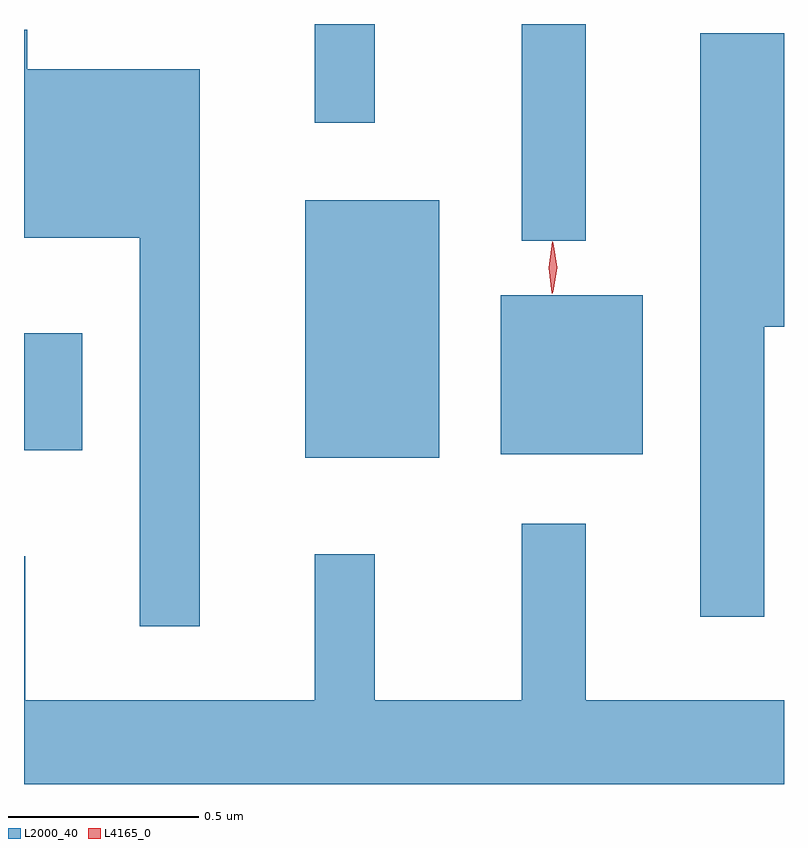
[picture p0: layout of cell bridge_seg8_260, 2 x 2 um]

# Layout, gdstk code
import gdstk
lib = gdstk.Library(unit=1e-6, precision=1e-09)
def R(c, l, rs):  # rectangles x0, y0, x1, y1
    for r in rs: c.add(gdstk.rectangle(r[:2], r[2:], *l))
def P(c, l, *ps):  # polygons
    for p in ps: c.add(gdstk.Polygon(p, *l))
L2000_40 = (2000, 40)
L4165_0 = (4165, 0)

bridge_seg8_260 = lib.new_cell('bridge_seg8_260')
R(bridge_seg8_260, L2000_40, [(1156.061,1832.881,1156.414,1833.559), (1156.576,1832.891,1156.949,1833.309), (1155.321,1832.901,1155.474,1833.209), (1156.631,1833.453,1156.799,1834.023), (1156.086,1833.763,1156.244,1834.023)])
P(bridge_seg8_260, L2000_40, [(1155.784,1833.904),(1155.329,1833.904),(1155.329,1834.008),(1155.321,1834.008),(1155.321,1833.461),(1155.626,1833.461),(1155.626,1832.438),(1155.784,1832.438)],
  [(1157.269,1833.226),(1157.321,1833.226),(1157.321,1833.999),(1157.101,1833.999),(1157.101,1832.463),(1157.269,1832.463)],
  [(1157.321,1832.244),(1156.799,1832.244),(1156.799,1832.708),(1156.631,1832.708),(1156.631,1832.244),(1156.244,1832.244),(1156.244,1832.628),(1156.086,1832.628),(1156.086,1832.244),(1155.324,1832.244),(1155.324,1832.623),(1155.321,1832.623),(1155.321,1832.023),(1157.321,1832.023)])
P(bridge_seg8_260, L4165_0, [(1156.71,1833.314),(1156.702,1833.382),(1156.711,1833.45),(1156.712,1833.45),(1156.712,1833.45),(1156.721,1833.382),(1156.712,1833.314),(1156.711,1833.314)],
  [(1156.713,1833.318),(1156.704,1833.382),(1156.713,1833.447),(1156.714,1833.447),(1156.714,1833.447),(1156.724,1833.382),(1156.714,1833.318),(1156.714,1833.318)])

lib.write_gds('bridge_seg8_260.gds')
